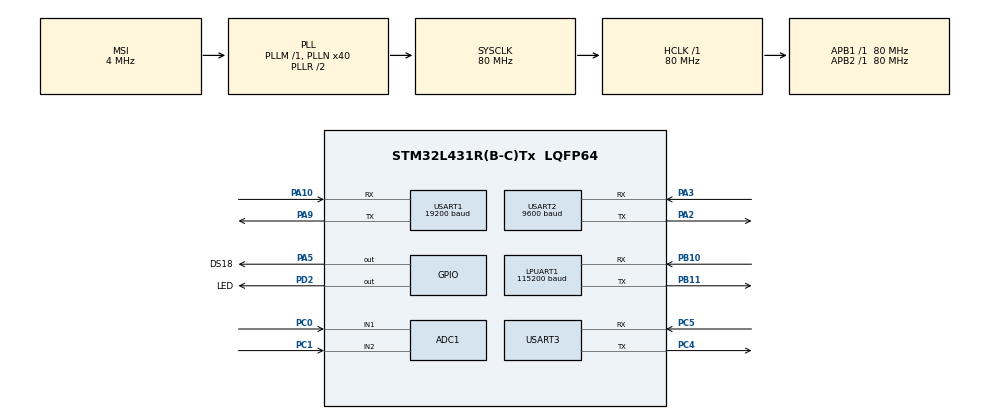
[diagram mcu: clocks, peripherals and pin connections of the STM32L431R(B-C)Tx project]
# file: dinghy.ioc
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ADC1.Channel-0\#ChannelRegularConversion=ADC_CHANNEL_1
ADC1.Channel-1\#ChannelRegularConversion=ADC_CHANNEL_2
ADC1.ContinuousConvMode=ENABLE
ADC1.DMAContinuousRequests=ENABLE
ADC1.NbrOfConversion=2
ADC1.NbrOfConversionFlag=1
ADC1.OffsetNumber-0\#ChannelRegularConversion=ADC_OFFSET_NONE
ADC1.OffsetNumber-1\#ChannelRegularConversion=ADC_OFFSET_NONE
ADC1.Rank-0\#ChannelRegularConversion=1
ADC1.Rank-1\#ChannelRegularConversion=2
ADC1.SamplingTime-0\#ChannelRegularConversion=ADC_SAMPLETIME_47CYCLES_5
ADC1.SamplingTime-1\#ChannelRegularConversion=ADC_SAMPLETIME_47CYCLES_5
ADC1.master=1
Dma.ADC1.2.Direction=DMA_PERIPH_TO_MEMORY
Dma.ADC1.2.Instance=DMA1_Channel1
Dma.ADC1.2.MemDataAlignment=DMA_MDATAALIGN_HALFWORD
Dma.ADC1.2.MemInc=DMA_MINC_ENABLE
Dma.ADC1.2.Mode=DMA_CIRCULAR
Dma.ADC1.2.PeriphDataAlignment=DMA_PDATAALIGN_HALFWORD
Dma.ADC1.2.PeriphInc=DMA_PINC_DISABLE
Dma.ADC1.2.Priority=DMA_PRIORITY_LOW
Dma.LPUART_RX.4.Direction=DMA_PERIPH_TO_MEMORY
Dma.LPUART_RX.4.Instance=DMA2_Channel7
Dma.LPUART_RX.4.MemDataAlignment=DMA_MDATAALIGN_BYTE
Dma.LPUART_RX.4.MemInc=DMA_MINC_ENABLE
Dma.LPUART_RX.4.Mode=DMA_NORMAL
Dma.LPUART_RX.4.PeriphDataAlignment=DMA_PDATAALIGN_BYTE
Dma.LPUART_RX.4.PeriphInc=DMA_PINC_DISABLE
Dma.LPUART_RX.4.Priority=DMA_PRIORITY_LOW
Dma.Request0=USART1_RX
Dma.Request1=USART2_RX
Dma.Request2=ADC1
Dma.Request3=USART3_RX
Dma.Request4=LPUART_RX
Dma.USART1_RX.0.Direction=DMA_PERIPH_TO_MEMORY
Dma.USART1_RX.0.Instance=DMA1_Channel5
Dma.USART1_RX.0.MemDataAlignment=DMA_MDATAALIGN_BYTE
Dma.USART1_RX.0.MemInc=DMA_MINC_ENABLE
Dma.USART1_RX.0.Mode=DMA_NORMAL
Dma.USART1_RX.0.PeriphDataAlignment=DMA_PDATAALIGN_BYTE
Dma.USART1_RX.0.PeriphInc=DMA_PINC_DISABLE
Dma.USART1_RX.0.Priority=DMA_PRIORITY_LOW
Dma.USART2_RX.1.Direction=DMA_PERIPH_TO_MEMORY
Dma.USART2_RX.1.Instance=DMA1_Channel6
Dma.USART2_RX.1.MemDataAlignment=DMA_MDATAALIGN_BYTE
Dma.USART2_RX.1.MemInc=DMA_MINC_ENABLE
Dma.USART2_RX.1.Mode=DMA_NORMAL
Dma.USART2_RX.1.PeriphDataAlignment=DMA_PDATAALIGN_BYTE
Dma.USART2_RX.1.PeriphInc=DMA_PINC_DISABLE
Dma.USART2_RX.1.Priority=DMA_PRIORITY_LOW
Dma.USART3_RX.3.Direction=DMA_PERIPH_TO_MEMORY
Dma.USART3_RX.3.Instance=DMA1_Channel3
Dma.USART3_RX.3.MemDataAlignment=DMA_MDATAALIGN_BYTE
Dma.USART3_RX.3.MemInc=DMA_MINC_ENABLE
Dma.USART3_RX.3.Mode=DMA_NORMAL
Dma.USART3_RX.3.PeriphDataAlignment=DMA_PDATAALIGN_BYTE
Dma.USART3_RX.3.PeriphInc=DMA_PINC_DISABLE
Dma.USART3_RX.3.Priority=DMA_PRIORITY_LOW
LPUART1.BaudRate=115200
LPUART1.OneBitSampling=UART_ONE_BIT_SAMPLE_DISABLE
LPUART1.WordLength=UART_WORDLENGTH_8B
Mcu.Family=STM32L4
Mcu.Name=STM32L431R(B-C)Tx
Mcu.Package=LQFP64
NVIC.ADC1_IRQn=true\:0\:0\:false\:false\:true\:false\:true\:true\:true
NVIC.DMA1_Channel1_IRQn=true\:5\:0\:true\:false\:true\:true\:true\:true\:true
NVIC.LPUART1_IRQn=true\:0\:0\:false\:false\:true\:false\:true\:true\:true
NVIC.PriorityGroup=NVIC_PRIORITYGROUP_4
NVIC.TIM1_UP_TIM16_IRQn=true\:15\:0\:false\:false\:true\:false\:false\:true\:true
NVIC.TimeBase=TIM1_UP_TIM16_IRQn
NVIC.TimeBaseIP=TIM1
NVIC.USART1_IRQn=true\:5\:0\:true\:false\:true\:false\:true\:true\:true
NVIC.USART2_IRQn=true\:5\:0\:true\:false\:true\:false\:true\:true\:true
NVIC.USART3_IRQn=true\:0\:0\:false\:false\:true\:false\:true\:true\:true
PA10.Mode=Asynchronous
PA10.Signal=USART1_RX
PA13\ (JTMS-SWDIO).Mode=Serial_Wire
PA13\ (JTMS-SWDIO).Signal=SYS_JTMS-SWDIO
PA14\ (JTCK-SWCLK).Mode=Serial_Wire
PA14\ (JTCK-SWCLK).Signal=SYS_JTCK-SWCLK
PA2.Mode=Asynchronous
PA2.Signal=USART2_TX
PA3.Mode=Asynchronous
PA3.Signal=USART2_RX
PA5.GPIO_Label=DS18
PA5.Signal=GPIO_Output
PA9.Mode=Asynchronous
PA9.Signal=USART1_TX
PB10.Mode=Asynchronous
PB10.Signal=LPUART1_RX
PB11.Mode=Asynchronous
PB11.Signal=LPUART1_TX
PC0.Signal=ADCx_IN1
PC1.Signal=ADCx_IN2
PC14-OSC32_IN\ (PC14).Mode=LSE-External-Oscillator
PC14-OSC32_IN\ (PC14).Signal=RCC_OSC32_IN
PC15-OSC32_OUT\ (PC15).Mode=LSE-External-Oscillator
PC15-OSC32_OUT\ (PC15).Signal=RCC_OSC32_OUT
PC4.Mode=Asynchronous
PC4.Signal=USART3_TX
PC5.Mode=Asynchronous
PC5.Signal=USART3_RX
PD2.GPIO_Label=LED
PD2.Signal=GPIO_Output
PH0-OSC_IN\ (PH0).Mode=HSE-External-Oscillator
PH0-OSC_IN\ (PH0).Signal=RCC_OSC_IN
PH1-OSC_OUT\ (PH1).Mode=HSE-External-Oscillator
PH1-OSC_OUT\ (PH1).Signal=RCC_OSC_OUT
ProjectManager.HeapSize=0x5000
ProjectManager.StackSize=0x3000
ProjectManager.TargetToolchain=MDK-ARM V5.32
RCC.ADCFreq_Value=32000000
RCC.AHBFreq_Value=80000000
RCC.APB1Freq_Value=80000000
RCC.APB1TimFreq_Value=80000000
RCC.APB2Freq_Value=80000000
RCC.APB2TimFreq_Value=80000000
RCC.CortexFreq_Value=80000000
RCC.HCLKFreq_Value=80000000
RCC.HSE_VALUE=8000000
RCC.HSI48_VALUE=48000000
RCC.HSI_VALUE=16000000
RCC.MSI_VALUE=4000000
RCC.PLLN=40
RCC.PLLSAI1N=16
RCC.SYSCLKFreq_VALUE=80000000
RCC.SYSCLKSource=RCC_SYSCLKSOURCE_PLLCLK
RCC.VCOOutputFreq_Value=160000000
RealThread.RT-Thread.3.1.5.RTOSJjkernel=true
SH.ADCx_IN1.0=ADC1_IN1,IN1-Single-Ended
SH.ADCx_IN2.0=ADC1_IN2,IN2-Single-Ended
USART1.BaudRate=19200
USART1.VirtualMode-Asynchronous=VM_ASYNC
USART2.BaudRate=9600
USART2.VirtualMode-Asynchronous=VM_ASYNC
USART3.VirtualMode-Asynchronous=VM_ASYNC
VP_RealThread.RT-Thread_VS_RTOSJjkernel_3.1.5_3.1.5.Mode=RTOSJjkernel
VP_SYS_VS_tim1.Mode=TIM1
board=custom

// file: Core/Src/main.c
/* USER CODE BEGIN Header */
/**
 ******************************************************************************
 * @file           : main.c
 * @brief          : Main program body
 ******************************************************************************
 * @attention
 *
 * Copyright (c) 2023 STMicroelectronics.
 * All rights reserved.
 *
 * This software is licensed under terms that can be found in the LICENSE file
 * in the root directory of this software component.
 * If no LICENSE file comes with this software, it is provided AS-IS.
 *
 ******************************************************************************
 */
/* USER CODE END Header */
#include "main.h"
#include "adc.h"
#include "dma.h"
#include "usart.h"
#include "gpio.h"

/* USER CODE BEGIN Includes */
#include <stdio.h>
#include <stdlib.h>
#include <string.h>
#include "cJSON.h"
#include "cJSON_test.h"
#include "rtthread.h"
#include "NMEA0183.h"
#include "DS18B20.h"
/* USER CODE END Includes */

/* USER CODE BEGIN PTD */
extern void MX_RT_Thread_Init(void);
extern void MX_RT_Thread_Process(void);

extern uint8_t DATA_BUFF[2048], rx_flag;
extern uint8_t DATA3_BUFF[1024], rx3_flag;
extern char *strx1,*strx2,*strxPowerSwitch,*strxBrightness,*strxColor;
extern uint8_t uart3RxState;
/* USER CODE END PTD */

/* USER CODE BEGIN PV */
uint8_t rx_flag = 0;
extern uint16_t ADC_Value[20];

extern unsigned int index;
extern uint16_t DATA_SIZE,DATA3_SIZE;
/* USER CODE END PV */

void SystemClock_Config(void);
/* USER CODE BEGIN PFP */
int CJSON_CDECL cJSON_Init(void)
{
  /* print the version */
  //printf("cJSON Version: %s\n", cJSON_Version());

  /* Now some samplecode for building objects concisely: */
  //create_objects();

  return 0;
}
#ifdef L610
void L610_Init()
{
  myprintf(&huart3,"ATI\r\n");
  HAL_Delay(1000);
  HAL_UART_Transmit(&hlpuart1,(uint8_t *)DATA3_BUFF,DATA3_SIZE,0xffff);

  strx1=strstr((const char*)DATA3_BUFF,(const char*)"Fibocom");
  while(strx1==NULL)
    {
      HAL_UART_Transmit(&hlpuart1,(uint8_t *)"查询信息失败\r\n",sizeof("查询信息失败\r\n"),0xffff);
      HAL_Delay(100);
      memset(DATA3_BUFF,0,1024);
      DATA3_SIZE=0;
      myprintf(&huart3,"ATI\r\n");
      HAL_Delay(2000);
      strx1=strstr((const char*)DATA3_BUFF,(const char*)"Fibocom");
    }
  HAL_UART_Transmit(&hlpuart1,(uint8_t *)"版本信息正确\r\n",sizeof("版本信息正确\r\n"),0xffff);
  HAL_Delay(100);
  memset(DATA3_BUFF,0,1024);
  DATA3_SIZE=0;
  uart3RxState=0;
  myprintf(&huart3,"AT+MIPCALL?\r\n");
  HAL_Delay(2000);
  HAL_UART_Transmit(&hlpuart1,(uint8_t *)DATA3_BUFF,DATA3_SIZE,0xffff);
  strx1=strstr((const char*)DATA3_BUFF,(const char*)"+MIPCALL: 1");
  while(strx1==NULL)
    {
      HAL_UART_Transmit(&hlpuart1,(uint8_t *)"还未获取到IP\r\n",sizeof("还未获取到IP\r\n"),0xffff);
      HAL_Delay(100);
      memset(DATA3_BUFF,0,1024);
      DATA3_SIZE=0;
      myprintf(&huart3,"AT+MIPCALL=1\r\n");
      HAL_Delay(2000);
      HAL_UART_Transmit(&hlpuart1,(uint8_t *)DATA3_BUFF,DATA3_SIZE,0xffff);
      strx1=strstr((const char*)DATA3_BUFF,(const char*)"+MIPCALL: 1");
    }

  HAL_UART_Transmit(&hlpuart1,(uint8_t *)"获取到IP\r\n",sizeof("获取到IP\r\n"),0xffff);
  HAL_Delay(100);

  HAL_UART_Transmit(&hlpuart1,(uint8_t *)"step3\r\n",7,0xffff);
  memset(DATA3_BUFF,0,1024);
  DATA3_SIZE=0;
  myprintf(&huart3,"AT+MQTTOPEN=1,\"175.178.35.189\",1883,0,60\r\n");

  HAL_Delay(1000);
  strx1=strstr((const char*)DATA3_BUFF,(const char*)"+MQTTOPEN:1,1");
  while(strx1==NULL)
    {
      HAL_UART_Transmit(&hlpuart1,(uint8_t *)"平台信息设置失败\r\n",sizeof("平台信息设置失败\r\n"),0xffff);
      HAL_Delay(100);
      memset(DATA3_BUFF,0,1024);
      DATA3_SIZE=0;
      myprintf(&huart3,"AT+MQTTOPEN=1,\"175.178.35.189\",1883,0,60\r\n");
      HAL_Delay(2000);
      strx1=strstr((const char*)DATA3_BUFF,(const char*)"+MQTTOPEN:1,1");
    }

  HAL_UART_Transmit(&hlpuart1,(uint8_t *)"平台信息设置成功\r\n",sizeof("平台信息设置成功\r\n"),0xffff);
  HAL_Delay(100);
}
#endif
void Hardware_Init()
{
  cJSON_Init();
  HAL_ADCEx_Calibration_Start(&hadc1, ADC_SINGLE_ENDED);
  HAL_ADC_Start_DMA(&hadc1, (uint32_t *)&ADC_Value, 20);

  DS18B20_Init();
  DS18B20_GetTemperature(); //获取温度
  HAL_Delay(1500);
  myprintf(&huart2,"$PCAS01,5*19\r\n");
  HAL_UART_DeInit(&huart2);
  USART2_Change(115200);
  // 空闲中断接收
  HAL_UARTEx_ReceiveToIdle_DMA(&huart2, DATA_BUFF, 2048); // 开启串口DMA接收
  HAL_UARTEx_ReceiveToIdle_DMA(&huart3, DATA3_BUFF, 1024); // 开启串口DMA接收
#ifdef L610
  L610_Init();
#endif
}
/* USER CODE END PFP */

int main(void)
{

  /* MCU Configuration--------------------------------------------------------*/

  /* Reset of all peripherals, Initializes the Flash interface and the Systick. */
  HAL_Init();

  /* Configure the system clock */
  SystemClock_Config();

  /* Initialize all configured peripherals */
  MX_GPIO_Init();
  MX_DMA_Init();
  MX_USART1_UART_Init();
  MX_USART2_UART_Init();
  MX_ADC1_Init();
  MX_USART3_UART_Init();
  MX_LPUART1_UART_Init();
  /* USER CODE BEGIN 2 */
  Hardware_Init();
  MX_RT_Thread_Init();
  /* USER CODE END 2 */

  /* Infinite loop */
  /* USER CODE BEGIN WHILE */
  while (1)
    {
      MX_RT_Thread_Process();
      /* USER CODE END WHILE */

    }
}

void SystemClock_Config(void)
{
  RCC_OscInitTypeDef RCC_OscInitStruct = {0};
  RCC_ClkInitTypeDef RCC_ClkInitStruct = {0};

  /** Configure the main internal regulator output voltage
  */
  if (HAL_PWREx_ControlVoltageScaling(PWR_REGULATOR_VOLTAGE_SCALE1) != HAL_OK)
    {
      Error_Handler();
    }

  /** Configure LSE Drive Capability
  */
  HAL_PWR_EnableBkUpAccess();
  __HAL_RCC_LSEDRIVE_CONFIG(RCC_LSEDRIVE_LOW);

  /** Initializes the RCC Oscillators according to the specified parameters
  * in the RCC_OscInitTypeDef structure.
  */
  RCC_OscInitStruct.OscillatorType = RCC_OSCILLATORTYPE_LSE|RCC_OSCILLATORTYPE_MSI;
  RCC_OscInitStruct.LSEState = RCC_LSE_ON;
  RCC_OscInitStruct.MSIState = RCC_MSI_ON;
  RCC_OscInitStruct.MSICalibrationValue = 0;
  RCC_OscInitStruct.MSIClockRange = RCC_MSIRANGE_6;
  RCC_OscInitStruct.PLL.PLLState = RCC_PLL_ON;
  RCC_OscInitStruct.PLL.PLLSource = RCC_PLLSOURCE_MSI;
  RCC_OscInitStruct.PLL.PLLM = 1;
  RCC_OscInitStruct.PLL.PLLN = 40;
  RCC_OscInitStruct.PLL.PLLP = RCC_PLLP_DIV7;
  RCC_OscInitStruct.PLL.PLLQ = RCC_PLLQ_DIV2;
  RCC_OscInitStruct.PLL.PLLR = RCC_PLLR_DIV2;
  if (HAL_RCC_OscConfig(&RCC_OscInitStruct) != HAL_OK)
    {
      Error_Handler();
    }

  /** Initializes the CPU, AHB and APB buses clocks
  */
  RCC_ClkInitStruct.ClockType = RCC_CLOCKTYPE_HCLK|RCC_CLOCKTYPE_SYSCLK
                                |RCC_CLOCKTYPE_PCLK1|RCC_CLOCKTYPE_PCLK2;
  RCC_ClkInitStruct.SYSCLKSource = RCC_SYSCLKSOURCE_PLLCLK;
  RCC_ClkInitStruct.AHBCLKDivider = RCC_SYSCLK_DIV1;
  RCC_ClkInitStruct.APB1CLKDivider = RCC_HCLK_DIV1;
  RCC_ClkInitStruct.APB2CLKDivider = RCC_HCLK_DIV1;

  if (HAL_RCC_ClockConfig(&RCC_ClkInitStruct, FLASH_LATENCY_4) != HAL_OK)
    {
      Error_Handler();
    }

  /** Enable MSI Auto calibration
  */
  HAL_RCCEx_EnableMSIPLLMode();
}

/* USER CODE BEGIN 4 */
void USER_FNC()
{
  // myprintf(&huart1,"%s\r\n",DATA_BUFF);
  // printf("%s\r\n",DATA_BUFF);
  for (index = 0; index < DATA_SIZE; ++index)
    {
      if (nmea_decode(&nmea0183, DATA_BUFF[index]))
        {
          /// 解析代码成功
        }
    }
  // myprintf(&huart1,"纬度:%f,经度:%f\r\n",nmea0183.gpsData.location.lat,nmea0183.gpsData.location.lng);
}

void HAL_UARTEx_RxEventCallback(UART_HandleTypeDef *huart, uint16_t Size)
{
  if (huart->Instance == USART2)
    {
      // 这里的DMA为Normal模式
      HAL_UART_DMAStop(huart); // 如果DMA为Circular模式，回调函数加上stop函数
      USER_FNC();              // 用户自定义处理函�?
      memset(DATA_BUFF, 0, Size);
      DATA_SIZE = Size;
    }
  else if (huart->Instance == USART3)
    {
      // 这里的DMA为Normal模式
      HAL_UART_DMAStop(huart); // 如果DMA为Circular模式，回调函数加上stop函数
      //USER_FNC();              // 用户自定义处理函�?
      memset(DATA3_BUFF, 0, Size);
      DATA3_SIZE = Size;
    }
}
/* USER CODE END 4 */

void HAL_TIM_PeriodElapsedCallback(TIM_HandleTypeDef *htim)
{
  if (htim->Instance == TIM1)
    {
      HAL_IncTick();
    }
}

void Error_Handler(void)
{
  __disable_irq();
  while (1)
    {
    }
}
